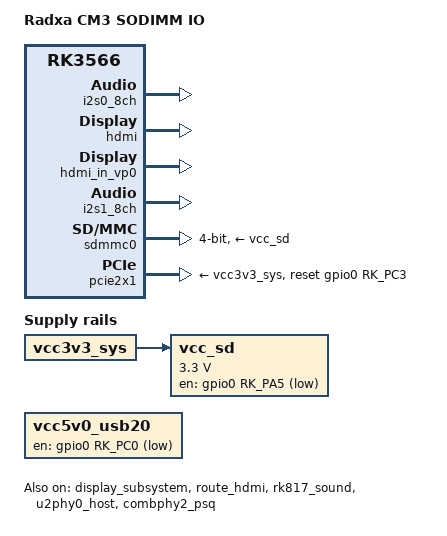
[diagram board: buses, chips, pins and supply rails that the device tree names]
// SPDX-License-Identifier: (GPL-2.0+ OR MIT)
/*
 * Copyright (c) 2022 Rockchip Electronics Co., Ltd.
 * Copyright (c) 2022 Radxa Limited.
 *
 */

/dts-v1/;

#include <dt-bindings/display/rockchip_vop.h>
#include "rk3566-radxa-rock-3-compute-module-sodimm.dtsi"
#include "rk3566-rock-cm3-sodimm-io-display.dtsi"
#include "rk3566-cm3-sodimm-io-rpi-ov5647.dtsi"

/ {
	model = "Radxa CM3 SODIMM IO";
	compatible = "radxa,radxa-cm3-sodimm-io", "rockchip,rk3566";

	hdmi_sound: hdmi-sound {
		compatible = "simple-audio-card";
		simple-audio-card,format = "i2s";
		simple-audio-card,mclk-fs = <128>;
		simple-audio-card,name = "rockchip,hdmi";

		simple-audio-card,cpu {
				sound-dai = <&i2s0_8ch>;
		};
		simple-audio-card,codec {
				sound-dai = <&hdmi>;
		};
	};

	vcc5v0_usb20: vcc5v0-usb20-regulator {
		compatible = "regulator-fixed";
		enable-active-low;
		gpio = <&gpio0 RK_PC0 GPIO_ACTIVE_LOW>;
		pinctrl-names = "default";
		pinctrl-0 = <&vcc5v0_usb20_en>;
		regulator-name = "vcc5v0_usb20";
		regulator-always-on;
		regulator-boot-on;
	};

	vcc_sd: sdmmc-regulator {
		compatible = "regulator-fixed";
		gpio = <&gpio0 RK_PA5 GPIO_ACTIVE_LOW>;
		pinctrl-names = "default";
		pinctrl-0 = <&sdmmc_pwren>;
		regulator-name = "vcc_sd";
		regulator-min-microvolt = <3300000>;
		regulator-max-microvolt = <3300000>;
		startup-delay-us = <100000>;
		vin-supply = <&vcc3v3_sys>;
	};
};

&i2s0_8ch {
	status = "okay";
};

&display_subsystem {
    status = "okay";
};

&hdmi {
	status = "okay";
};

&hdmi_in_vp0 {
	status = "okay";
};

&hdmi_in_vp1 {
	status = "disabled";
};

&hdmi_sound {
	status = "okay";
};

&route_hdmi {
	status = "okay";
	connect = <&vp0_out_hdmi>;
};

&rk817_sound {
	status = "okay";
};

&i2s1_8ch {
	status = "okay";
};

&sdmmc0 {
	max-frequency = <150000000>;
	supports-sd;
	bus-width = <4>;
	cap-mmc-highspeed;
	cap-sd-highspeed;
	disable-wp;
	vmmc-supply = <&vcc_sd>;
	vqmmc-supply = <&vccio_sd>;
	pinctrl-names = "default";
	pinctrl-0 = <&sdmmc0_bus4 &sdmmc0_clk &sdmmc0_cmd &sdmmc0_det>;
	status = "okay";
};

&u2phy0_host {
	phy-supply = <&vcc5v0_usb20>;
	status = "okay";
};

&combphy2_psq {
	status = "okay";
};

&pcie2x1 {
	reset-gpios = <&gpio0 RK_PC3 GPIO_ACTIVE_HIGH>;
	vpcie3v3-supply = <&vcc3v3_sys>;
	pinctrl-0 = <&pcie20m2_pins>;
	status = "okay";
};

&pinctrl {
	usb {
		vcc5v0_usb20_en: vcc5v0-host-en {
			rockchip,pins = <0 RK_PC0 RK_FUNC_GPIO &pcfg_pull_none>;
		};
	};

	sdcard {
		sdmmc_pwren: sdmmc-pwren {
			rockchip,pins = <0 RK_PA5 RK_FUNC_GPIO &pcfg_pull_none>;
		};
	};

	ch482d {
		ch482d_en: ch482d-en {
			rockchip,pins = <0 RK_PC1 RK_FUNC_GPIO &pcfg_pull_none>;
		};
	};

	leds {
		sata2_led: sata2-led{
			rockchip,pins = <0 RK_PC2 RK_FUNC_GPIO &pcfg_pull_none>;
		};
	};
};
